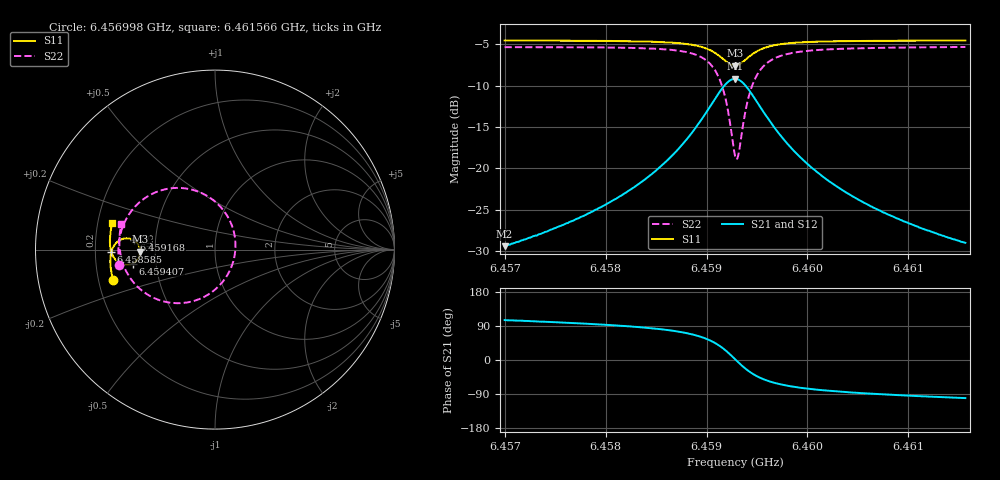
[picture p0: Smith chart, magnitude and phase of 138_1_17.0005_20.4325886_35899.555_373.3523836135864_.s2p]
#  HZ  S  RI  R  50.00
! Rohde & Schwarz Vector Network Analyzer
! Rohde-Schwarz,ZNB20-2Port,1311601062101988,3.16
! Created: UTC 3/20/2024, 10:58:13 PM
! freq[Hz]  re:S11  im:S11  re:S21  im:S21  re:S12  im:S12  re:S22  im:S22
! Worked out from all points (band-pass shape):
!   401 points, 6.456998 GHz to 6.461566 GHz, reference 50 ohm
!   highest |S21| = -9.18 dB at 6.459282 GHz (marker M1); lowest = -29.4 dB at 6.456998 GHz (marker M2)
!   |S21| within 3 dB of the highest: 6.459053 GHz to 6.459511 GHz (457.6 kHz wide, 0.00708 % of centre)
!   lowest |S11| = -7.6 dB at 6.459282 GHz (marker M3), VSWR 2.43, Z = 20.6 - j0.56 ohm
!   |S11| at or under -10 dB: nowhere
!   |S22| runs from -18.9 to -5.3 dB; largest |S21 - S12| = 0.014
!   S11 on the Smith chart (normalised r, x): 6.456998 GHz: 0.26, -0.14; 6.458585 GHz: 0.27, -0.01; 6.459168 GHz: 0.37, +0.05; 6.459407 GHz: 0.37, -0.07; 6.461566 GHz: 0.26, +0.12
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6.4569977e9  -0.5666 -0.172  -0.00892 0.0326  -0.00716 0.0326  -0.5329 -0.0835
6.4577629e9  -0.5805 -0.1049  -0.00565 0.0507  -0.00305 0.0501  -0.5381 0.00655
6.458174e9  -0.5835 -0.0636  0.000189 0.0696  0.00336 0.0683  -0.5302 0.0717
6.458528e9  -0.5795 -0.0213  0.0142 0.0994  0.0182 0.0966  -0.5041 0.1516
6.4585851e9  -0.5777 -0.0133  0.0188 0.1064  0.0228 0.1032  -0.4957 0.1682
6.4587907e9  -0.5644 0.0188  0.0463 0.1389  0.0505 0.134  -0.444 0.2411
6.4589391e9  -0.5417 0.0452  0.092 0.1695  0.0952 0.1629  -0.3599 0.3055
6.4590762e9  -0.4975 0.0627  0.1798 0.1861  0.1807 0.1787  -0.2 0.3437
6.4591675e9  -0.4527 0.0523  0.2701 0.1546  0.2704 0.1487  -0.033 0.2926
6.4592361e9  -0.4234 0.02  0.3308 0.0822  0.3329 0.0769  0.0822 0.1624
6.4592817e9  -0.4165 -0.0112  0.3471 0.0141  0.3507 0.00712  0.1139 0.035
6.4592932e9  -0.4169 -0.0193  0.3469 -0.00371  0.3507 -0.0114  0.1136 0.00139
6.459316e9  -0.4205 -0.0351  0.3413 -0.0385  0.3451 -0.0477  0.1023 -0.0646
6.4593617e9  -0.4361 -0.0615  0.3126 -0.0987  0.3148 -0.1105  0.0442 -0.1778
6.4594074e9  -0.4582 -0.0779  0.2703 -0.1398  0.2696 -0.1531  -0.0411 -0.2526
6.4594987e9  -0.5019 -0.0849  0.1853 -0.1711  0.1791 -0.1827  -0.2102 -0.2985
6.4596472e9  -0.546 -0.0647  0.0971 -0.1573  0.0885 -0.1635  -0.378 -0.249
6.4598071e9  -0.5679 -0.0369  0.0519 -0.1294  0.0443 -0.1321  -0.4586 -0.1768
6.4600469e9  -0.5807 -0.00149  0.0226 -0.0977  0.0168 -0.0983  -0.5069 -0.0944
6.4603895e9  -0.5855 0.0394  0.00637 -0.0708  0.00238 -0.0703  -0.5284 -0.0152
6.460812e9  -0.5838 0.082  -0.00127 -0.0521  -0.00419 -0.0513  -0.5328 0.0529
6.4615658e9  -0.572 0.1488  -0.00648 -0.0348  -0.00817 -0.0339  -0.5218 0.1422
